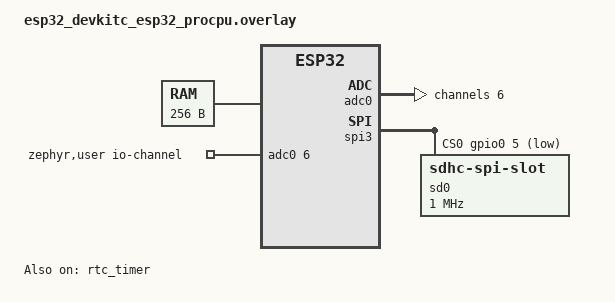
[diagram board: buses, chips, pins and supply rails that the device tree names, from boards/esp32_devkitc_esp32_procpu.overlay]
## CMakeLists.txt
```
#
# This file is part of AtomVM.
#
# Copyright 2026 Peter M <petermm@gmail.com>
#
# SPDX-License-Identifier: Apache-2.0 OR LGPL-2.1-or-later
#

cmake_minimum_required (VERSION 3.20)
set(CMAKE_C_STANDARD_REQUIRED YES)
set(CMAKE_CXX_STANDARD_REQUIRED YES)

# Enforce to disable any compiler-specific extensions
set(CMAKE_C_EXTENSIONS NO)
set(CMAKE_CXX_EXTENSIONS NO)
set(C_STANDARD_REQUIRED YES)
set_property(GLOBAL PROPERTY C_STANDARD_REQUIRED TRUE)
set_property(GLOBAL PROPERTY CSTD iso9899:2011)
set_property(GLOBAL PROPERTY C_STANDARD iso9899:2011)

get_filename_component(ATOMVM_ZEPHYR_ROOT "${CMAKE_CURRENT_LIST_DIR}/.." ABSOLUTE)

option(AVM_ZEPHYR_NATIVE_SIM_I2C_TEST "Run the native_sim Erlang I2C emulator test" OFF)

# Reuse the normal platform configuration, plus any matching board-specific
# config or overlay from the Zephyr port root. Zephyr normally discovers these
# relative to the application root, but this test app lives one directory down.
set(CONF_FILE "${ATOMVM_ZEPHYR_ROOT}/prj.conf")
set(ATOMVM_ZEPHYR_BOARD_CANDIDATES "${BOARD}")
set(ATOMVM_ZEPHYR_TEST_BOARD_CONFS)
if(BOARD MATCHES "/")
    string(REGEX REPLACE "/.*" "" ATOMVM_ZEPHYR_BOARD_BASE "${BOARD}")
    list(APPEND ATOMVM_ZEPHYR_BOARD_CANDIDATES "${ATOMVM_ZEPHYR_BOARD_BASE}")
endif()

foreach(ATOMVM_ZEPHYR_BOARD_CANDIDATE ${ATOMVM_ZEPHYR_BOARD_CANDIDATES})
    string(REPLACE "/" "_" ATOMVM_ZEPHYR_BOARD_FILE "${ATOMVM_ZEPHYR_BOARD_CANDIDATE}")
    set(ATOMVM_ZEPHYR_BOARD_CONF "${ATOMVM_ZEPHYR_ROOT}/boards/${ATOMVM_ZEPHYR_BOARD_FILE}.conf")
    set(ATOMVM_ZEPHYR_BOARD_OVERLAY "${ATOMVM_ZEPHYR_ROOT}/boards/${ATOMVM_ZEPHYR_BOARD_FILE}.overlay")

    if(NOT DEFINED EXTRA_CONF_FILE AND EXISTS "${ATOMVM_ZEPHYR_BOARD_CONF}")
        set(EXTRA_CONF_FILE "${ATOMVM_ZEPHYR_BOARD_CONF}")
    endif()
    if(NOT DEFINED DTC_OVERLAY_FILE AND EXISTS "${ATOMVM_ZEPHYR_BOARD_OVERLAY}")
        set(DTC_OVERLAY_FILE "${ATOMVM_ZEPHYR_BOARD_OVERLAY}")
    endif()

    set(ATOMVM_ZEPHYR_TEST_BOARD_CONF "${CMAKE_CURRENT_LIST_DIR}/boards/${ATOMVM_ZEPHYR_BOARD_FILE}.conf")
    if(EXISTS "${ATOMVM_ZEPHYR_TEST_BOARD_CONF}")
        list(APPEND ATOMVM_ZEPHYR_TEST_BOARD_CONFS "${ATOMVM_ZEPHYR_TEST_BOARD_CONF}")
    endif()
endforeach()

list(APPEND EXTRA_CONF_FILE "${CMAKE_CURRENT_LIST_DIR}/prj.conf")
list(APPEND EXTRA_CONF_FILE ${ATOMVM_ZEPHYR_TEST_BOARD_CONFS})

if(AVM_ZEPHYR_NATIVE_SIM_I2C_TEST)
    list(APPEND EXTRA_CONF_FILE "${CMAKE_CURRENT_LIST_DIR}/native_sim_i2c.conf")
    list(APPEND DTC_OVERLAY_FILE "${CMAKE_CURRENT_LIST_DIR}/boards/native_sim.overlay")
endif()

if(BOARD MATCHES "^qemu_x86_64")
    set(AVM_ZEPHYR_EXPERIMENTAL_SMP ON CACHE BOOL "Enable experimental AtomVM SMP support on Zephyr" FORCE)
else()
    set(AVM_ZEPHYR_EXPERIMENTAL_SMP OFF CACHE BOOL "Enable experimental AtomVM SMP support on Zephyr" FORCE)
endif()

set(AVM_ZEPHYR_BOOT_TEST OFF CACHE BOOL "Boot AtomVM far enough to exercise Zephyr platform initialization" FORCE)
set(AVM_ZEPHYR_TEST_AVM ON CACHE BOOL "Use an embedded test AVM pack instead of a flashed application" FORCE)
set(AVM_ZEPHYR_TEST_EXIT ON CACHE BOOL "Exit the Zephyr application when the AtomVM application returns" FORCE)


find_package(Zephyr REQUIRED HINTS $ENV{ZEPHYR_BASE})
project(AtomVMZephyrTests LANGUAGES C)

include(${ATOMVM_ZEPHYR_ROOT}/cmake/AtomVMZephyrApp.cmake)

if(AVM_ZEPHYR_NATIVE_SIM_I2C_TEST)
    target_sources(app PRIVATE ${CMAKE_CURRENT_LIST_DIR}/src/i2c_native_sim_emul.c)
endif()

add_subdirectory(test_erl_sources)
```

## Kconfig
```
#
# Copyright 2026 Peter M <petermm@gmail.com>
#
# SPDX-License-Identifier: Apache-2.0 OR LGPL-2.1-or-later
#

mainmenu "AtomVM Zephyr Tests Configuration"

source "$(APPLICATION_SOURCE_DIR)/../Kconfig.atomvm"
source "Kconfig.zephyr"
```

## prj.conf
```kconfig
CONFIG_ZTEST=y
CONFIG_KERNEL_BIN_NAME="zephyr"
# Disable clock calibration on ESP32 to prevent simulator hangs
CONFIG_CLOCK_CONTROL_ESP32_RTC_CLK_CAL_CYCLES=0

# AtomVM allocates with malloc(). Use Zephyr's common libc malloc and let the
# arena claim all remaining SRAM (-1). Fixed dual heaps forced every MCU to
# carry QEMU-sized static BSS and required per-board overrides on ESP/Pico.
# HEAP_MEM_POOL_SIZE stays at the Kconfig default (0); subsystems that need
# k_malloc (e.g. DYNAMIC_THREAD_ALLOC on QEMU) raise the minimum themselves.
CONFIG_COMMON_LIBC_MALLOC=y
CONFIG_COMMON_LIBC_MALLOC_ARENA_SIZE=-1
```

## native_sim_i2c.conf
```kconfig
#
# This file is part of AtomVM.
#
# Copyright 2026 Peter M <petermm@gmail.com>
#
# SPDX-License-Identifier: Apache-2.0 OR LGPL-2.1-or-later
#

CONFIG_EMUL=y
CONFIG_KERNEL_BIN_NAME="zephyr"
CONFIG_STDOUT_CONSOLE=n
CONFIG_SYS_HEAP_AUTO=n

# Native simulator links against the host C library by default. Floating-point
# cbprintf pulls host libm objects that do not survive native_sim's final link.
CONFIG_CBPRINTF_FP_SUPPORT=n
CONFIG_I2C_TARGET=y
```

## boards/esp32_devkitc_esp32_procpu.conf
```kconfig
#
# This file is part of AtomVM.
#
# Copyright 2026 Peter M <petermm@gmail.com>
#
# SPDX-License-Identifier: Apache-2.0 OR LGPL-2.1-or-later
#

# The ESP32 Wokwi test image exercises Wi-Fi scan support, but still keeps
# heavyweight socket paths out of this embedded test build.
CONFIG_NET_DHCPV4=y
CONFIG_DNS_RESOLVER=y
CONFIG_NET_TCP=y
CONFIG_NET_UDP=y
CONFIG_NET_MAX_CONN=6
CONFIG_NET_CONNECTION_MANAGER=n

# Reduce network packet and buffer counts to save static DRAM
CONFIG_NET_PKT_RX_COUNT=8
CONFIG_NET_PKT_TX_COUNT=8
CONFIG_NET_BUF_RX_COUNT=16
CONFIG_NET_BUF_TX_COUNT=16

# TLS to github.com (same pattern as the ESP32 qemu test): ECDHE-ECDSA only.
# P-384 intermediates in the chain require secp384r1 support.
CONFIG_MBEDTLS_SSL_PROTO_TLS1_3=n
CONFIG_MBEDTLS_CIPHERSUITE_TLS_ECDHE_ECDSA_WITH_AES_128_GCM_SHA256=y
CONFIG_MBEDTLS_CIPHERSUITE_TLS_ECDHE_ECDSA_WITH_AES_256_GCM_SHA384=y

CONFIG_PSA_WANT_KEY_TYPE_ECC_PUBLIC_KEY=y
CONFIG_PSA_WANT_ECC_SECP_R1_256=y
CONFIG_PSA_WANT_ECC_SECP_R1_384=y
CONFIG_PSA_WANT_KEY_TYPE_RSA_PUBLIC_KEY=n
CONFIG_PSA_WANT_ALG_RSA_PKCS1V15_SIGN=n

CONFIG_PSA_WANT_ALG_ECDSA=y
CONFIG_PSA_WANT_ALG_ECDH=y
CONFIG_PSA_WANT_ALG_DETERMINISTIC_ECDSA=y

# Configure MbedTLS payload buffers for the Wokwi HTTPS client test. This
# Zephyr SDK exposes the deprecated symmetric setting, so both RX and TX use it.
CONFIG_MBEDTLS_SSL_MAX_CONTENT_LEN=8192

# With Wi-Fi, PSA/mbedTLS, and FS linked (and no RAM disk), about ~253 KiB
# remains for static heaps. Max that out (128 KiB pool + rest to libc
# malloc). Keep the main stack smaller than the application default so
# mbedTLS has malloc room.
CONFIG_MAIN_STACK_SIZE=8192

CONFIG_HEAP_MEM_POOL_SIZE=131072
CONFIG_COMMON_LIBC_MALLOC_ARENA_SIZE=127696
CONFIG_COUNTER=y
CONFIG_PM_DEVICE=y

# Filesystem and SD Card support
CONFIG_ADC=y
CONFIG_SPI=y
CONFIG_PWM=y
CONFIG_DISK_ACCESS=y
CONFIG_FILE_SYSTEM=y
CONFIG_FAT_FILESYSTEM_ELM=y
CONFIG_FILE_SYSTEM_MKFS=y
CONFIG_FS_FATFS_MOUNT_MKFS=y
CONFIG_RETAINED_MEM=y
CONFIG_RETENTION=y
```

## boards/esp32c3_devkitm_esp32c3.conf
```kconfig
#
# This file is part of AtomVM.
#
# Copyright 2026 Peter M <petermm@gmail.com>
#
# SPDX-License-Identifier: Apache-2.0 OR LGPL-2.1-or-later
#

CONFIG_ADC=y
CONFIG_SPI=y
CONFIG_PWM=y
CONFIG_RETAINED_MEM=y
CONFIG_RETENTION=y
```

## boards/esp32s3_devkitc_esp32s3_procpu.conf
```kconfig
#
# This file is part of AtomVM.
#
# Copyright 2026 Peter M <petermm@gmail.com>
#
# SPDX-License-Identifier: Apache-2.0 OR LGPL-2.1-or-later
#

CONFIG_ADC=y
CONFIG_SPI=y
CONFIG_PWM=y
CONFIG_RETAINED_MEM=y
CONFIG_RETENTION=y

# TLS to github.com (same pattern as the ESP32 qemu test): ECDHE-ECDSA only.
# P-384 intermediates in the chain require secp384r1 support.
CONFIG_MBEDTLS_SSL_PROTO_TLS1_3=n
CONFIG_MBEDTLS_CIPHERSUITE_TLS_ECDHE_ECDSA_WITH_AES_128_GCM_SHA256=y
CONFIG_MBEDTLS_CIPHERSUITE_TLS_ECDHE_ECDSA_WITH_AES_256_GCM_SHA384=y
CONFIG_PSA_WANT_KEY_TYPE_ECC_PUBLIC_KEY=y
CONFIG_PSA_WANT_ECC_SECP_R1_256=y
CONFIG_PSA_WANT_ECC_SECP_R1_384=y
CONFIG_PSA_WANT_KEY_TYPE_RSA_PUBLIC_KEY=n
CONFIG_PSA_WANT_ALG_RSA_PKCS1V15_SIGN=n
CONFIG_PSA_WANT_ALG_ECDSA=y
CONFIG_PSA_WANT_ALG_ECDH=y
CONFIG_PSA_WANT_ALG_DETERMINISTIC_ECDSA=y
CONFIG_MBEDTLS_SSL_MAX_CONTENT_LEN=8192

# The Wokwi ESP32-S3 Wi-Fi model crashes on IPv6 traffic. Disabling MLD or
# DAD alone does not help. Keep this test image IPv4-only; the C3 and classic
# ESP32 images cover IPv6.
CONFIG_NET_IPV6=n
```

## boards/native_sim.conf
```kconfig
# Enable emulator subsystem on native_sim to support emulator-backed I2C controllers
CONFIG_EMUL=y
CONFIG_SPI=y
CONFIG_PWM=y
CONFIG_DAC=y

# Settings/NVS on the board's simulated flash storage partition.
CONFIG_FLASH=y
CONFIG_FLASH_MAP=y
CONFIG_FLASH_SIMULATOR=y
CONFIG_NVS=y
CONFIG_SETTINGS=y
CONFIG_SETTINGS_NVS=y
```

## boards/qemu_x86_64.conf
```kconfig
#
# This file is part of AtomVM.
#
# Copyright 2026 Peter M <petermm@gmail.com>
#
# SPDX-License-Identifier: Apache-2.0 OR LGPL-2.1-or-later
#

# POSIX socketpair support for test_select. Keep this scoped to QEMU so
# embedded test builds do not pull in extra networking state just for this test.
CONFIG_NETWORKING=y
CONFIG_NET_SOCKETS=y
CONFIG_NET_SOCKETPAIR=y
CONFIG_NET_MAX_CONN=4
CONFIG_NET_UDP=y
CONFIG_SLIP=n
CONFIG_NET_TEST=y

# SMP support for test_time_and_processes.
CONFIG_DYNAMIC_THREAD=y
CONFIG_DYNAMIC_THREAD_ALLOC=y
```

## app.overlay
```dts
/*
 * Copyright 2026 Peter M <petermm@gmail.com>
 *
 * SPDX-License-Identifier: Apache-2.0 OR LGPL-2.1-or-later
 */

/ {
    /*
     * FAT volume for test_mount / test_file on hosts without a real block
     * device. Elm FatFs needs enough sectors for boot/FAT/root; 16 KiB fails
     * mkfs with -EIO. Keep the previous 64 KiB size. ESP Wokwi images do not
     * apply this overlay (they use SPI microSD instead).
     */
    ramdisk0 {
        compatible = "zephyr,ram-disk";
        disk-name = "RAM";
        sector-size = <512>;
        sector-count = <128>; /* 128 * 512 = 64 KiB */
    };
};
```

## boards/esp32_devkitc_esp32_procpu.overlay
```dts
#include <zephyr/dt-bindings/pinctrl/esp32-pinctrl.h>
#include <zephyr/dt-bindings/adc/adc.h>

/ {
	chosen {
		atomvm,retention = &atomvm_retention;
		atomvm,spi = &spi3;
		zephyr,settings-partition = &storage_partition;
	};

	memory@50001f00 {
		compatible = "zephyr,memory-region", "mmio-sram";
		reg = <0x50001f00 0x100>;
		ranges = <0x0 0x50001f00 0x100>;
		zephyr,memory-region = "ATOMVM_RTC_RETAINED";
		status = "okay";
		#address-cells = <1>;
		#size-cells = <1>;

		atomvm_retained_mem: retainedmem {
			compatible = "zephyr,retained-ram";
			status = "okay";
			ranges;
			#address-cells = <1>;
			#size-cells = <1>;

			atomvm_retention: retention@0 {
				compatible = "zephyr,retention";
				status = "okay";
				reg = <0x0 0x100>;
				prefix = [41 56 4d];
				checksum = <4>;
			};
		};
	};

	zephyr,user {
		io-channels = <&adc0 6>;
	};
};

&rtc_slow_ram {
	reg = <0x50000000 0x1f00>;
};

&adc0 {
	status = "okay";
	#address-cells = <1>;
	#size-cells = <0>;

	channel@6 {
		reg = <6>;
		zephyr,gain = "ADC_GAIN_1_4";
		zephyr,reference = "ADC_REF_INTERNAL";
		zephyr,acquisition-time = <ADC_ACQ_TIME_DEFAULT>;
		zephyr,resolution = <12>;
	};
};

&rtc_timer {
	status = "okay";
	wakeup-source;
};

&pinctrl {
	spim3_default: spim3_default {
		group1 {
			pinmux = <SPIM3_MISO_GPIO19>,
				 <SPIM3_SCLK_GPIO18>;
		};

		group2 {
			pinmux = <SPIM3_MOSI_GPIO23>;
			output-low;
		};
	};
};

&deep_sleep {
	status = "okay";
};

&spi3 {
	status = "okay";
	cs-gpios = <&gpio0 5 GPIO_ACTIVE_LOW>;

	sd0: sd@0 {
		compatible = "zephyr,sdhc-spi-slot";
		reg = <0>;
		status = "okay";
		spi-max-frequency = <1000000>;

		mmc {
			compatible = "zephyr,sdmmc-disk";
			disk-name = "SD";
			status = "okay";
		};
	};
};
```

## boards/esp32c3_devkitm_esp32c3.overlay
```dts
#include <zephyr/dt-bindings/adc/adc.h>

/ {
	chosen {
		atomvm,retention = &atomvm_retention;
		zephyr,console = &uart0;
		zephyr,shell-uart = &uart0;
		zephyr,settings-partition = &storage_partition;
	};

	memory@50001f00 {
		compatible = "zephyr,memory-region", "mmio-sram";
		reg = <0x50001f00 0x100>;
		ranges = <0x0 0x50001f00 0x100>;
		zephyr,memory-region = "ATOMVM_RTC_RETAINED";
		status = "okay";
		#address-cells = <1>;
		#size-cells = <1>;

		atomvm_retained_mem: retainedmem {
			compatible = "zephyr,retained-ram";
			status = "okay";
			ranges;
			#address-cells = <1>;
			#size-cells = <1>;

			atomvm_retention: retention@0 {
				compatible = "zephyr,retention";
				status = "okay";
				reg = <0x0 0x100>;
				prefix = [41 56 4d];
				checksum = <4>;
			};
		};
	};

	zephyr,user {
		io-channels = <&adc0 3>;
	};
};

&uart0 {
	status = "okay";
};

&rtc_fast_ram {
	reg = <0x50000000 0x1f00>;
};

&adc0 {
	status = "okay";
	#address-cells = <1>;
	#size-cells = <0>;

	channel@3 {
		reg = <3>;
		zephyr,gain = "ADC_GAIN_1_4";
		zephyr,reference = "ADC_REF_INTERNAL";
		zephyr,acquisition-time = <ADC_ACQ_TIME_DEFAULT>;
		zephyr,resolution = <12>;
	};
};
```

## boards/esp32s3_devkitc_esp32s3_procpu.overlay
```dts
#include <zephyr/dt-bindings/adc/adc.h>

/ {
	chosen {
		atomvm,retention = &atomvm_retention;
		zephyr,console = &uart0;
		zephyr,shell-uart = &uart0;
		zephyr,settings-partition = &storage_partition;
	};

	memory@50001f00 {
		compatible = "zephyr,memory-region", "mmio-sram";
		reg = <0x50001f00 0x100>;
		ranges = <0x0 0x50001f00 0x100>;
		zephyr,memory-region = "ATOMVM_RTC_RETAINED";
		status = "okay";
		#address-cells = <1>;
		#size-cells = <1>;

		atomvm_retained_mem: retainedmem {
			compatible = "zephyr,retained-ram";
			status = "okay";
			ranges;
			#address-cells = <1>;
			#size-cells = <1>;

			atomvm_retention: retention@0 {
				compatible = "zephyr,retention";
				status = "okay";
				reg = <0x0 0x100>;
				prefix = [41 56 4d];
				checksum = <4>;
			};
		};
	};

	zephyr,user {
		io-channels = <&adc1 0>;
	};
};

&uart0 {
	status = "okay";
};

&rtc_slow_ram {
	reg = <0x50000000 0x1f00>;
};

&adc1 {
	status = "okay";
	#address-cells = <1>;
	#size-cells = <0>;

	channel@0 {
		reg = <0>;
		zephyr,gain = "ADC_GAIN_1_4";
		zephyr,reference = "ADC_REF_INTERNAL";
		zephyr,acquisition-time = <ADC_ACQ_TIME_DEFAULT>;
		zephyr,resolution = <12>;
	};
};
```

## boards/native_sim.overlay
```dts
/*
 * This file is part of AtomVM.
 *
 * Copyright 2026 Peter M <petermm@gmail.com>
 *
 * SPDX-License-Identifier: Apache-2.0 OR LGPL-2.1-or-later
 */

/ {
    chosen {
        atomvm,i2c = &i2c0;
        atomvm,spi = &spi0;
        atomvm,pwm = &pwm0;
    };

    pwm0: pwm0 {
        compatible = "zephyr,fake-pwm";
        status = "okay";
        #pwm-cells = <2>;
        frequency = <10000000>;
    };
};
```

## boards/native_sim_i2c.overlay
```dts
/*
 * This file is part of AtomVM.
 *
 * Copyright 2026 Peter M <petermm@gmail.com>
 *
 * SPDX-License-Identifier: Apache-2.0 OR LGPL-2.1-or-later
 */

/* Emulator target used only by atomvm.zephyr.i2c_native_sim. */
&i2c0 {
    atomvm_i2c_test_target: atomvm-i2c-test-target@50 {
        compatible = "vnd,atomvm-native-sim-i2c-target";
        reg = <0x50>;
    };
};
```

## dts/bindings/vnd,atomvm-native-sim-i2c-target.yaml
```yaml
#
# This file is part of AtomVM.
#
# Copyright 2026 Peter M <petermm@gmail.com>
#
# SPDX-License-Identifier: Apache-2.0 OR LGPL-2.1-or-later
#

description: AtomVM native_sim I2C test target

compatible: "vnd,atomvm-native-sim-i2c-target"

include: i2c-device.yaml
```

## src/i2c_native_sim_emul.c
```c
/*
 * This file is part of AtomVM.
 *
 * Copyright 2026 Peter M <petermm@gmail.com>
 *
 * SPDX-License-Identifier: Apache-2.0 OR LGPL-2.1-or-later
 */

#include <stdint.h>
#include <string.h>

#include <zephyr/device.h>
#include <zephyr/drivers/emul.h>
#include <zephyr/drivers/emul_stub_device.h>
#include <zephyr/drivers/i2c.h>
#include <zephyr/drivers/i2c_emul.h>
#include <zephyr/sys/util.h>

#define DT_DRV_COMPAT vnd_atomvm_native_sim_i2c_target

struct atomvm_native_sim_i2c_data
{
    uint8_t memory[256];
    uint8_t pointer;
};

static int atomvm_native_sim_i2c_transfer(const struct emul *target, struct i2c_msg *msgs, int num_msgs, int addr)
{
    ARG_UNUSED(addr);

    struct atomvm_native_sim_i2c_data *data = target->data;

    for (int i = 0; i < num_msgs; i++) {
        struct i2c_msg *msg = &msgs[i];

        if ((msg->flags & I2C_MSG_READ) != 0) {
            for (uint32_t pos = 0; pos < msg->len; pos++) {
                msg->buf[pos] = data->memory[data->pointer++];
            }
        } else if (msg->len > 0) {
            data->pointer = msg->buf[0];
            for (uint32_t pos = 1; pos < msg->len; pos++) {
                data->memory[data->pointer++] = msg->buf[pos];
            }
        }
    }

    return 0;
}

static struct i2c_emul_api atomvm_native_sim_i2c_bus_api = {
    .transfer = atomvm_native_sim_i2c_transfer,
};

static int atomvm_native_sim_i2c_init(const struct emul *target, const struct device *parent)
{
    ARG_UNUSED(parent);

    struct atomvm_native_sim_i2c_data *data = target->data;
    memset(data->memory, 0, sizeof(data->memory));
    data->pointer = 0;

    return 0;
}

#define ATOMVM_NATIVE_SIM_I2C_TARGET(n)                                                                                 \
    static struct atomvm_native_sim_i2c_data atomvm_native_sim_i2c_data_##n;                                            \
    EMUL_DT_INST_DEFINE(n, atomvm_native_sim_i2c_init, &atomvm_native_sim_i2c_data_##n, NULL,                           \
        &atomvm_native_sim_i2c_bus_api, NULL);

DT_INST_FOREACH_STATUS_OKAY(ATOMVM_NATIVE_SIM_I2C_TARGET)
DT_INST_FOREACH_STATUS_OKAY(EMUL_STUB_DEVICE)
```

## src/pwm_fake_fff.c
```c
/*
 * This file is part of AtomVM.
 *
 * Copyright 2026 Peter M <petermm@gmail.com>
 *
 * SPDX-License-Identifier: Apache-2.0 OR LGPL-2.1-or-later
 */

/*
 * Zephyr's fake PWM driver is built with FFF and needs DEFINE_FFF_GLOBALS
 * linked into the application when CONFIG_PWM_FAKE is enabled.
 */
#include <zephyr/fff.h>

DEFINE_FFF_GLOBALS;
```

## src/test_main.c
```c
/*
 * This file is part of AtomVM.
 *
 * Copyright 2026 Peter M <petermm@gmail.com>
 *
 * SPDX-License-Identifier: Apache-2.0 OR LGPL-2.1-or-later
 */

#include <zephyr/ztest.h>
#include <zephyr/devicetree.h>
#include <stddef.h>
#include <stdint.h>
#include <stdio.h>
#include <stdlib.h>

#include <avmpack.h>
#include <context.h>
#include <globalcontext.h>
#include <module.h>
#include <nifs.h>
#include <defaultatoms.h>

#include "../../src/lib/avm_devcfg.h"
#include "../../src/lib/avm_log.h"
#include "../../src/lib/zephyros_sys.h"

#define TAG "AtomVM"

extern const uint8_t zephyr_test_modules_avm[];
extern const size_t zephyr_test_modules_avm_size;

term avm_test_case(const char *test_module)
{
    GlobalContext *glb = globalcontext_new();
    zassert_not_null(glb, "Failed to create GlobalContext");

    port_driver_init_all(glb);
    nif_collection_init_all(glb);

    zassert_true(avmpack_is_valid(zephyr_test_modules_avm, zephyr_test_modules_avm_size), "Invalid AVM pack");

    struct ConstAVMPack *avmpack_data = malloc(sizeof(struct ConstAVMPack));
    zassert_not_null(avmpack_data, "Failed to allocate AVMPack");

    avmpack_data_init(&avmpack_data->base, &const_avm_pack_info, zephyr_test_modules_avm_size);
    avmpack_data->base.in_use = true;
    avmpack_data->base.data = zephyr_test_modules_avm;
    synclist_append(&glb->avmpack_data, &avmpack_data->base.avmpack_head);

    Module *mod = globalcontext_load_module_from_avm(glb, test_module);
    zassert_not_null(mod, "Failed to load module %s", test_module);

    globalcontext_insert_module(glb, mod);

    Context *ctx = context_new(glb);
    zassert_not_null(ctx, "Failed to create context");
    ctx->leader = 1;

    AVM_LOGI(TAG, "Running start/0 from %s...\n", test_module);

    context_execute_loop(ctx, mod, "start", 0);
    term ret_value = ctx->x[0];

    fprintf(stdout, "AtomVM finished with return value: ");
    term_display(stdout, ret_value, ctx);
    if (ret_value == ERROR_ATOM || ret_value == EXIT_ATOM || ret_value == THROW_ATOM) {
        fprintf(stdout, " (reason: ");
        term_display(stdout, ctx->x[1], ctx);
        fprintf(stdout, ")");
    }
    fprintf(stdout, "\n");

    context_destroy(ctx);

    nif_collection_destroy_all(glb);
    port_driver_destroy_all(glb);

    globalcontext_destroy(glb);

    return ret_value;
}

ZTEST_SUITE(atomvm_tests, NULL, NULL, NULL, NULL, NULL);

#if defined(CONFIG_SOC_FAMILY_ESPRESSIF_ESP32) && defined(CONFIG_POWEROFF)
ZTEST(atomvm_tests, test_deep_sleep)
{
    term ret_value = avm_test_case("test_deep_sleep.beam");
    zassert_equal(ret_value, OK_ATOM, "test_deep_sleep did not return 'ok'");
}
#endif

#if defined(CONFIG_ADC) && DT_NODE_HAS_PROP(DT_PATH(zephyr_user), io_channels)
ZTEST(atomvm_tests, test_adc)
{
    term ret_value = avm_test_case("test_adc.beam");
    zassert_equal(ret_value, OK_ATOM, "test_adc did not return 'ok'");
}
#endif

#if defined(CONFIG_GPIO) && defined(DT_N_NODELABEL_gpio0) && DT_NODE_HAS_STATUS(DT_NODELABEL(gpio0), okay)
ZTEST(atomvm_tests, test_gpio)
{
    term ret_value = avm_test_case("test_gpio.beam");
    zassert_equal(ret_value, OK_ATOM, "test_gpio did not return 'ok'");
}
#endif

#if defined(CONFIG_RETENTION) && DT_HAS_CHOSEN(atomvm_retention)
ZTEST(atomvm_tests, test_retention)
{
    term ret_value = avm_test_case("test_retention.beam");
    zassert_equal(ret_value, OK_ATOM, "test_retention did not return 'ok'");
}
#endif

#if defined(CONFIG_SPI) && DT_HAS_CHOSEN(atomvm_spi)
ZTEST(atomvm_tests, test_spi)
{
    term ret_value = avm_test_case("test_spi.beam");
    zassert_equal(ret_value, OK_ATOM, "test_spi did not return 'ok'");
}
#endif

#if defined(CONFIG_PWM) && DT_HAS_CHOSEN(atomvm_pwm)
ZTEST(atomvm_tests, test_pwm)
{
    term ret_value = avm_test_case("test_pwm.beam");
    zassert_equal(ret_value, OK_ATOM, "test_pwm did not return 'ok'");
}
#endif

#if defined(CONFIG_DAC) && DT_HAS_CHOSEN(atomvm_dac)
ZTEST(atomvm_tests, test_dac)
{
    term ret_value = avm_test_case("test_dac.beam");
    zassert_equal(ret_value, OK_ATOM, "test_dac did not return 'ok'");
}
#endif

#if defined(CONFIG_SERIAL)
ZTEST(atomvm_tests, test_uart)
{
    term ret_value = avm_test_case("test_uart.beam");
    zassert_equal(ret_value, OK_ATOM, "test_uart did not return 'ok'");
}
#endif

ZTEST(atomvm_tests, test_list_to_atom)
{
    term ret_value = avm_test_case("test_list_to_atom.beam");
    zassert_equal(ret_value, OK_ATOM, "test_list_to_atom did not return 'ok'");
}

ZTEST(atomvm_tests, test_system_architecture)
{
    term ret_value = avm_test_case("test_system_architecture.beam");
    zassert_equal(ret_value, OK_ATOM, "test_system_architecture did not return 'ok'");
}

ZTEST(atomvm_tests, test_list_to_binary)
{
    term ret_value = avm_test_case("test_list_to_binary.beam");
    zassert_equal(ret_value, OK_ATOM, "test_list_to_binary did not return 'ok'");
}
const struct Nif *platform_nifs_get_nif(const char *nifname);

ZTEST(atomvm_tests, test_platform_nif)
{
    const struct Nif *nif = platform_nifs_get_nif("atomvm:platform/0");
    zassert_not_null(nif, "Failed to resolve atomvm:platform/0");
}

ZTEST(atomvm_tests, test_missing_nif)
{
    const struct Nif *nif = platform_nifs_get_nif("atomvm:missing/0");
    zassert_is_null(nif, "Resolved missing/0 which should be NULL");
}

ZTEST(atomvm_tests, test_tz)
{
    term ret_value = avm_test_case("test_tz.beam");
    zassert_equal(ret_value, OK_ATOM, "test_tz did not return 'ok'");
}

ZTEST(atomvm_tests, test_md5)
{
    term ret_value = avm_test_case("test_md5.beam");
    zassert_equal(ret_value, OK_ATOM, "test_md5 did not return 'ok'");
}

ZTEST(atomvm_tests, test_crypto)
{
    term ret_value = avm_test_case("test_crypto.beam");
    zassert_equal(ret_value, OK_ATOM, "test_crypto did not return 'ok'");
}

#if defined(CONFIG_WIFI)
ZTEST(atomvm_tests, test_wifi_ap)
{
    term ret_value = avm_test_case("test_wifi_ap.beam");
    zassert_equal(ret_value, OK_ATOM, "test_wifi_ap did not return 'ok'");
}

ZTEST(atomvm_tests, test_wifi_scan)
{
    term ret_value = avm_test_case("test_wifi_scan.beam");
    zassert_equal(ret_value, OK_ATOM, "test_wifi_scan did not return 'ok'");
}

ZTEST(atomvm_tests, test_wifi_managed)
{
    term ret_value = avm_test_case("test_wifi_managed.beam");
    zassert_equal(ret_value, OK_ATOM, "test_wifi_managed did not return 'ok'");
}

ZTEST(atomvm_tests, test_wifi_example)
{
    term ret_value = avm_test_case("test_wifi_example.beam");
    zassert_equal(ret_value, OK_ATOM, "test_wifi_example did not return 'ok'");
}
#endif

#if defined(CONFIG_WIFI) && defined(CONFIG_AVM_ENABLE_CRYPTO) && defined(CONFIG_NET_SOCKETS) \
    && !defined(CONFIG_SOC_SERIES_ESP32C3) && !defined(CONFIG_SOC_SERIES_ESP32S3)
ZTEST(atomvm_tests, test_ssl)
{
    term ret_value = avm_test_case("test_ssl.beam");
    zassert_equal(ret_value, OK_ATOM, "test_ssl did not return 'ok'");
}
#endif

#if defined(CONFIG_WIFI) && !defined(CONFIG_SOC_SERIES_ESP32)
/* Named so ZTEST sorts after test_ssl / test_wifi_*. Leftover AP
 * sockets starve later STA cases if this runs first.
 *
 * Not run on the classic ESP32 Wokwi image: Mbed TLS 4.1 leaves too little
 * heap for the development-mode HTTP server after the TLS test in the same
 * boot. The ESP32-C3 and ESP32-S3 images cover dev mode. */
ZTEST(atomvm_tests, test_wifi_z_devmode)
{
    term ret_value = avm_test_case("test_devmode.beam");
    zassert_equal(ret_value, OK_ATOM, "test_devmode did not return 'ok'");
}
#endif

#if defined(CONFIG_NET_SOCKETPAIR) && !defined(CONFIG_BOARD_NATIVE_SIM)
ZTEST(atomvm_tests, test_select)
{
    term ret_value = avm_test_case("test_select.beam");
    zassert_equal(ret_value, OK_ATOM, "test_select did not return 'ok'");
}
#endif

#if !defined(CONFIG_BOARD_NATIVE_SIM) && defined(CONFIG_FAT_FILESYSTEM_ELM)
ZTEST(atomvm_tests, test_mount)
{
    term ret_value = avm_test_case("test_mount.beam");
    zassert_equal(ret_value, OK_ATOM, "test_mount did not return 'ok'");
}
#endif

#if !defined(CONFIG_BOARD_NATIVE_SIM)
ZTEST(atomvm_tests, test_monotonic_time)
{
    term ret_value = avm_test_case("test_monotonic_time.beam");
    zassert_equal(ret_value, OK_ATOM, "test_monotonic_time did not return 'ok'");
}

ZTEST(atomvm_tests, test_time_and_processes)
{
    term ret_value = avm_test_case("test_time_and_processes.beam");
    zassert_equal(term_to_int(ret_value), 6, "test_time_and_processes did not return 6");
}
#endif

#if !defined(CONFIG_BOARD_NATIVE_SIM) && defined(CONFIG_FAT_FILESYSTEM_ELM)
ZTEST(atomvm_tests, test_file)
{
    term ret_value = avm_test_case("test_file.beam");
    zassert_equal(ret_value, OK_ATOM, "test_file did not return 'ok'");
}
#endif

#if defined(AVM_ZEPHYR_NATIVE_SIM_I2C_TEST)
ZTEST(atomvm_tests, test_i2c_native_sim)
{
    term ret_value = avm_test_case("test_i2c_native_sim.beam");
    zassert_equal(ret_value, OK_ATOM, "test_i2c_native_sim did not return 'ok'");
}
#endif

#if defined(CONFIG_PM)
ZTEST(atomvm_tests, test_deep_sleep_hold)
{
    term ret_value = avm_test_case("test_deep_sleep_hold.beam");
    zassert_equal(ret_value, OK_ATOM, "test_deep_sleep_hold did not return 'ok'");
}
#endif

#if defined(CONFIG_TASK_WDT)
ZTEST(atomvm_tests, test_twdt)
{
    term ret_value = avm_test_case("test_twdt.beam");
    zassert_equal(ret_value, OK_ATOM, "test_twdt did not return 'ok'");
}
#endif

ZTEST(atomvm_tests, test_platform)
{
    term ret_value = avm_test_case("test_platform.beam");
    zassert_equal(ret_value, OK_ATOM, "test_platform did not return 'ok'");
}

#if defined(CONFIG_SETTINGS)
ZTEST(atomvm_tests, test_settings)
{
    term ret_value = avm_test_case("test_settings.beam");
    zassert_equal(ret_value, OK_ATOM, "test_settings did not return 'ok'");
}
#endif

#if defined(CONFIG_FLASH_MAP)
ZTEST(atomvm_tests, test_flash_map)
{
    term ret_value = avm_test_case("test_flash_map.beam");
    zassert_equal(ret_value, OK_ATOM, "test_flash_map did not return 'ok'");
}
#endif
```
